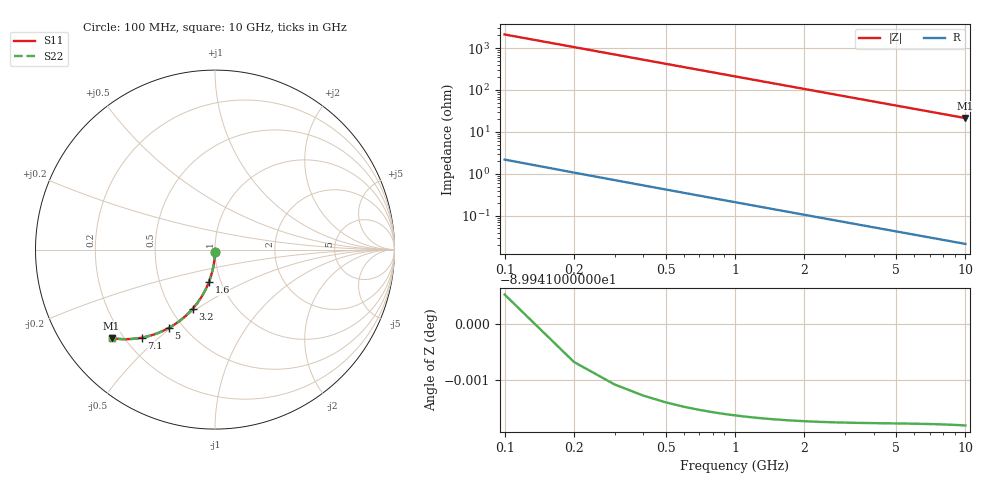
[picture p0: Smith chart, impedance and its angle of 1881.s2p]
# Hz S RI R 50.00
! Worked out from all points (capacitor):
!   100 points, 100 MHz to 10 GHz, reference 50 ohm
!   read as one part in shunt: C = 753 fF near 100 MHz
!   lowest |Z| = 21.4 ohm at 10 GHz (marker M1)
!   S11 on the Smith chart (normalised r, x): 100 MHz: 1.00, -0.02; 1.6 GHz: 0.88, -0.33; 3.2 GHz: 0.64, -0.48; 5 GHz: 0.42, -0.49; 7.1 GHz: 0.27, -0.44; 10 GHz: 0.16, -0.36
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1e8  -0.000151 -0.0118  0.9998 -0.0118  0.9998 -0.0118  -0.000151 -0.0118
2e8  -0.000582 -0.0236  0.9994 -0.0237  0.9994 -0.0237  -0.000582 -0.0236
3e8  -0.00129 -0.0354  0.9987 -0.0355  0.9987 -0.0355  -0.00129 -0.0354
4e8  -0.00228 -0.0472  0.9977 -0.0472  0.9977 -0.0472  -0.00228 -0.0472
5e8  -0.00354 -0.0589  0.9965 -0.0589  0.9965 -0.0589  -0.00354 -0.0589
6e8  -0.00508 -0.0705  0.9949 -0.0706  0.9949 -0.0706  -0.00508 -0.0705
7e8  -0.00688 -0.0821  0.9931 -0.0822  0.9931 -0.0822  -0.00688 -0.0821
9e8  -0.0113 -0.1051  0.9887 -0.1052  0.9887 -0.1052  -0.0113 -0.1051
1.2e9  -0.0198 -0.1388  0.9802 -0.1389  0.9802 -0.1389  -0.0198 -0.1388
1.6e9  -0.0346 -0.1821  0.9654 -0.1823  0.9654 -0.1823  -0.0346 -0.1821
1.8e9  -0.0433 -0.2029  0.9567 -0.2031  0.9567 -0.2031  -0.0433 -0.2029
2.4e9  -0.0742 -0.2614  0.9258 -0.2617  0.9258 -0.2617  -0.0742 -0.2614
2.8e9  -0.0981 -0.2968  0.9019 -0.2971  0.9019 -0.2971  -0.0981 -0.2968
3.2e9  -0.1242 -0.3291  0.8758 -0.3295  0.8758 -0.3295  -0.1242 -0.3291
3.4e9  -0.1379 -0.344  0.8621 -0.3445  0.8621 -0.3445  -0.1379 -0.344
4.2e9  -0.1956 -0.3959  0.8044 -0.3964  0.8044 -0.3964  -0.1956 -0.3959
5e9  -0.2558 -0.4355  0.7442 -0.4361  0.7442 -0.4361  -0.2558 -0.4355
5.1e9  -0.2633 -0.4396  0.7367 -0.4403  0.7367 -0.4403  -0.2633 -0.4396
6.7e9  -0.3805 -0.4846  0.6195 -0.4855  0.6195 -0.4855  -0.3805 -0.4846
7.1e9  -0.408 -0.4905  0.592 -0.4914  0.592 -0.4914  -0.408 -0.4905
8.4e9  -0.4904 -0.4989  0.5096 -0.5  0.5096 -0.5  -0.4904 -0.4989
1e10  -0.5764 -0.493  0.4236 -0.4943  0.4236 -0.4943  -0.5764 -0.493
